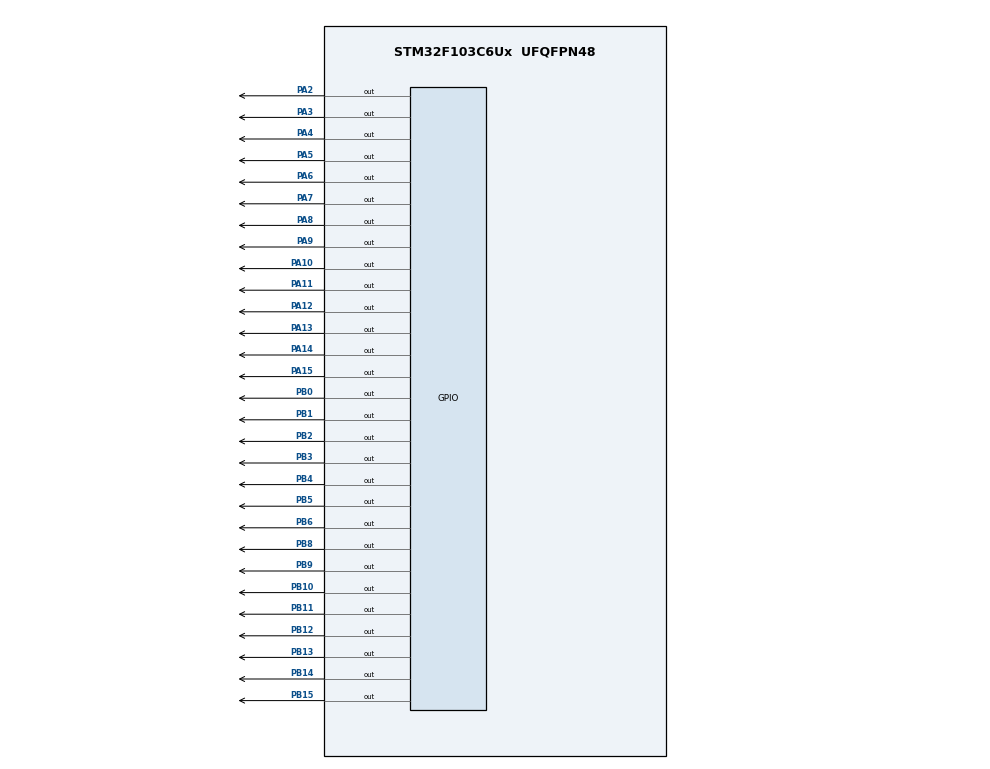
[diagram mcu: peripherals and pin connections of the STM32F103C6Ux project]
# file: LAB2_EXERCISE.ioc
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Mcu.Family=STM32F1
Mcu.Name=STM32F103C6Ux
Mcu.Package=UFQFPN48
NVIC.PriorityGroup=NVIC_PRIORITYGROUP_4
NVIC.TIM2_IRQn=true\:0\:0\:false\:false\:true\:true\:true
PA10.Signal=GPIO_Output
PA11.Signal=GPIO_Output
PA12.Signal=GPIO_Output
PA13.Signal=GPIO_Output
PA14.Signal=GPIO_Output
PA15.Signal=GPIO_Output
PA2.Signal=GPIO_Output
PA3.Signal=GPIO_Output
PA4.Signal=GPIO_Output
PA5.Signal=GPIO_Output
PA6.Signal=GPIO_Output
PA7.Signal=GPIO_Output
PA8.Signal=GPIO_Output
PA9.Signal=GPIO_Output
PB0.Signal=GPIO_Output
PB1.Signal=GPIO_Output
PB10.Signal=GPIO_Output
PB11.Signal=GPIO_Output
PB12.Signal=GPIO_Output
PB13.Signal=GPIO_Output
PB14.Signal=GPIO_Output
PB15.Signal=GPIO_Output
PB2.Signal=GPIO_Output
PB3.Signal=GPIO_Output
PB4.Signal=GPIO_Output
PB5.Signal=GPIO_Output
PB6.Signal=GPIO_Output
PB8.Signal=GPIO_Output
PB9.Signal=GPIO_Output
ProjectManager.HeapSize=0x200
ProjectManager.StackSize=0x400
ProjectManager.TargetToolchain=STM32CubeIDE
RCC.APB1Freq_Value=8000000
RCC.APB2Freq_Value=8000000
TIM2.Period=9
TIM2.Prescaler=7999
VP_SYS_VS_ND.Mode=No_Debug
VP_TIM2_VS_ClockSourceINT.Mode=Internal
board=custom

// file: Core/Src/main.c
/* USER CODE BEGIN Header */
/**
  ******************************************************************************
  * @file           : main.c
  * @brief          : Main program body
  ******************************************************************************
  * @attention
  *
  * <h2><center>&copy; Copyright (c) 2023 STMicroelectronics.
  * All rights reserved.</center></h2>
  *
  * This software component is licensed by ST under BSD 3-Clause license,
  * the "License"; You may not use this file except in compliance with the
  * License. You may obtain a copy of the License at:
  *                        opensource.org/licenses/BSD-3-Clause
  *
  ******************************************************************************
  */
/* USER CODE END Header */
#include "main.h"

TIM_HandleTypeDef htim2;

void SystemClock_Config(void);
static void MX_GPIO_Init(void);
static void MX_TIM2_Init(void);

int main(void)
{

  /* MCU Configuration--------------------------------------------------------*/

  /* Reset of all peripherals, Initializes the Flash interface and the Systick. */
  HAL_Init();

  /* Configure the system clock */
  SystemClock_Config();

  /* Initialize all configured peripherals */
  MX_GPIO_Init();
  MX_TIM2_Init();
  /* USER CODE BEGIN 2 */
  HAL_TIM_Base_Start_IT(&htim2);

  /* USER CODE END 2 */

  /* Infinite loop */
  /* USER CODE BEGIN WHILE */
  setTimer1(100);
  setTimer2(25);
  setTimer3(10);

  //uint8_t inputA[8] = {0x18,0x3C,0x66,0x66,0x7E,0x7E,0x66,0x66};
  uint8_t inputArrow[8]= {0x18,0x3C,0x7E,0xFF,0x18,0x18,0x18,0x18};
  while (1)
  {
	  // This is exercise 3 to exercise 10
	  // This is exercise 10
	  if (timer1_flag == 1){
		  setTimer1(100);
		  HAL_GPIO_TogglePin ( DOT_GPIO_Port , DOT_Pin | LED_RED_Pin);
		  second++;
			if ( second >= 60) {
				second = 0;
				minute ++;
			}
			if( minute >= 60) {
				minute = 0;
				hour ++;
			}
			if( hour >=24) {
				hour = 0;
			}
			updateClockBuffer();
	  }

	  if(timer2_flag == 1){
		  setTimer2(25);
		  update7SEG(index_led++);
	  }

	  if(timer3_flag == 1){
		  	  setTimer3(3);
		  	  LEDMATRIX_run(inputArrow);
	  	  }
    /* USER CODE END WHILE */

  }
}

void SystemClock_Config(void)
{
  RCC_OscInitTypeDef RCC_OscInitStruct = {0};
  RCC_ClkInitTypeDef RCC_ClkInitStruct = {0};

  /** Initializes the RCC Oscillators according to the specified parameters
  * in the RCC_OscInitTypeDef structure.
  */
  RCC_OscInitStruct.OscillatorType = RCC_OSCILLATORTYPE_HSI;
  RCC_OscInitStruct.HSIState = RCC_HSI_ON;
  RCC_OscInitStruct.HSICalibrationValue = RCC_HSICALIBRATION_DEFAULT;
  RCC_OscInitStruct.PLL.PLLState = RCC_PLL_NONE;
  if (HAL_RCC_OscConfig(&RCC_OscInitStruct) != HAL_OK)
  {
    Error_Handler();
  }
  /** Initializes the CPU, AHB and APB buses clocks
  */
  RCC_ClkInitStruct.ClockType = RCC_CLOCKTYPE_HCLK|RCC_CLOCKTYPE_SYSCLK
                              |RCC_CLOCKTYPE_PCLK1|RCC_CLOCKTYPE_PCLK2;
  RCC_ClkInitStruct.SYSCLKSource = RCC_SYSCLKSOURCE_HSI;
  RCC_ClkInitStruct.AHBCLKDivider = RCC_SYSCLK_DIV1;
  RCC_ClkInitStruct.APB1CLKDivider = RCC_HCLK_DIV1;
  RCC_ClkInitStruct.APB2CLKDivider = RCC_HCLK_DIV1;

  if (HAL_RCC_ClockConfig(&RCC_ClkInitStruct, FLASH_LATENCY_0) != HAL_OK)
  {
    Error_Handler();
  }
}

static void MX_TIM2_Init(void)
{

  TIM_ClockConfigTypeDef sClockSourceConfig = {0};
  TIM_MasterConfigTypeDef sMasterConfig = {0};

  htim2.Instance = TIM2;
  htim2.Init.Prescaler = 7999;
  htim2.Init.CounterMode = TIM_COUNTERMODE_UP;
  htim2.Init.Period = 9;
  htim2.Init.ClockDivision = TIM_CLOCKDIVISION_DIV1;
  htim2.Init.AutoReloadPreload = TIM_AUTORELOAD_PRELOAD_DISABLE;
  if (HAL_TIM_Base_Init(&htim2) != HAL_OK)
  {
    Error_Handler();
  }
  sClockSourceConfig.ClockSource = TIM_CLOCKSOURCE_INTERNAL;
  if (HAL_TIM_ConfigClockSource(&htim2, &sClockSourceConfig) != HAL_OK)
  {
    Error_Handler();
  }
  sMasterConfig.MasterOutputTrigger = TIM_TRGO_RESET;
  sMasterConfig.MasterSlaveMode = TIM_MASTERSLAVEMODE_DISABLE;
  if (HAL_TIMEx_MasterConfigSynchronization(&htim2, &sMasterConfig) != HAL_OK)
  {
    Error_Handler();
  }

}

static void MX_GPIO_Init(void)
{
  GPIO_InitTypeDef GPIO_InitStruct = {0};

  /* GPIO Ports Clock Enable */
  __HAL_RCC_GPIOA_CLK_ENABLE();
  __HAL_RCC_GPIOB_CLK_ENABLE();

  /*Configure GPIO pin Output Level */
  HAL_GPIO_WritePin(GPIOA, GPIO_PIN_2|GPIO_PIN_3|GPIO_PIN_4|GPIO_PIN_5
                          |GPIO_PIN_6|GPIO_PIN_7|GPIO_PIN_8|GPIO_PIN_9
                          |GPIO_PIN_10|GPIO_PIN_11|GPIO_PIN_12|GPIO_PIN_13
                          |GPIO_PIN_14|GPIO_PIN_15, GPIO_PIN_RESET);

  /*Configure GPIO pin Output Level */
  HAL_GPIO_WritePin(GPIOB, GPIO_PIN_0|GPIO_PIN_1|GPIO_PIN_2|GPIO_PIN_10
                          |GPIO_PIN_11|GPIO_PIN_12|GPIO_PIN_13|GPIO_PIN_14
                          |GPIO_PIN_15|GPIO_PIN_3|GPIO_PIN_4|GPIO_PIN_5
                          |GPIO_PIN_6|GPIO_PIN_8|GPIO_PIN_9, GPIO_PIN_RESET);

  /*Configure GPIO pins : PA2 PA3 PA4 PA5
                           PA6 PA7 PA8 PA9
                           PA10 PA11 PA12 PA13
                           PA14 PA15 */
  GPIO_InitStruct.Pin = GPIO_PIN_2|GPIO_PIN_3|GPIO_PIN_4|GPIO_PIN_5
                          |GPIO_PIN_6|GPIO_PIN_7|GPIO_PIN_8|GPIO_PIN_9
                          |GPIO_PIN_10|GPIO_PIN_11|GPIO_PIN_12|GPIO_PIN_13
                          |GPIO_PIN_14|GPIO_PIN_15;
  GPIO_InitStruct.Mode = GPIO_MODE_OUTPUT_PP;
  GPIO_InitStruct.Pull = GPIO_NOPULL;
  GPIO_InitStruct.Speed = GPIO_SPEED_FREQ_LOW;
  HAL_GPIO_Init(GPIOA, &GPIO_InitStruct);

  /*Configure GPIO pins : PB0 PB1 PB2 PB10
                           PB11 PB12 PB13 PB14
                           PB15 PB3 PB4 PB5
                           PB6 PB8 PB9 */
  GPIO_InitStruct.Pin = GPIO_PIN_0|GPIO_PIN_1|GPIO_PIN_2|GPIO_PIN_10
                          |GPIO_PIN_11|GPIO_PIN_12|GPIO_PIN_13|GPIO_PIN_14
                          |GPIO_PIN_15|GPIO_PIN_3|GPIO_PIN_4|GPIO_PIN_5
                          |GPIO_PIN_6|GPIO_PIN_8|GPIO_PIN_9;
  GPIO_InitStruct.Mode = GPIO_MODE_OUTPUT_PP;
  GPIO_InitStruct.Pull = GPIO_NOPULL;
  GPIO_InitStruct.Speed = GPIO_SPEED_FREQ_LOW;
  HAL_GPIO_Init(GPIOB, &GPIO_InitStruct);

}

/* USER CODE BEGIN 4 */
void HAL_TIM_PeriodElapsedCallback(TIM_HandleTypeDef *htim){
	timerRun();
}

/* USER CODE END 4 */

void Error_Handler(void)
{
  __disable_irq();
  while (1)
  {
  }
}

/************************ (C) COPYRIGHT STMicroelectronics *****END OF FILE****/
